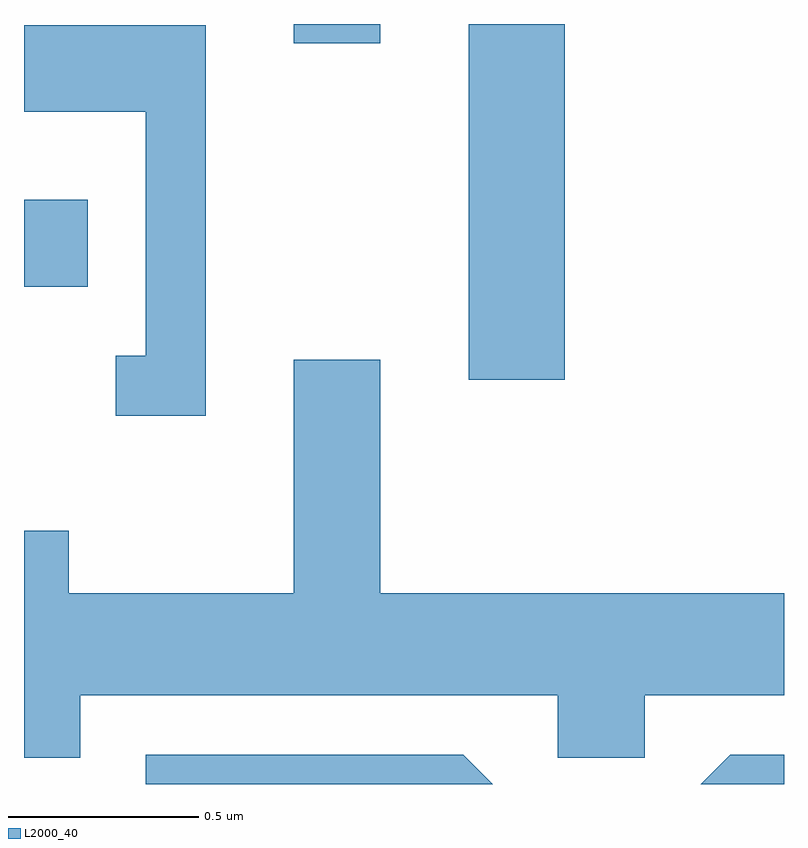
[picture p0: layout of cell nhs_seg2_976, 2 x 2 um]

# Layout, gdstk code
import gdstk
lib = gdstk.Library(unit=1e-6, precision=1e-09)
def R(c, l, rs):  # rectangles x0, y0, x1, y1
    for r in rs: c.add(gdstk.rectangle(r[:2], r[2:], *l))
def P(c, l, *ps):  # polygons
    for p in ps: c.add(gdstk.Polygon(p, *l))
L2000_40 = (2000, 40)

nhs_seg2_976 = lib.new_cell('nhs_seg2_976')
R(nhs_seg2_976, L2000_40, [(193.781,995.866,194.034,996.802), (192.611,996.111,192.779,996.339), (193.321,996.751,193.549,996.802)])
P(nhs_seg2_976, L2000_40, [(193.089,996.799),(192.611,996.799),(192.611,996.571),(192.931,996.571),(192.931,995.929),(192.853,995.929),(192.853,995.771),(193.089,995.771)],
  [(192.759,995.036),(194.016,995.036),(194.016,994.871),(194.244,994.871),(194.244,995.036),(194.611,995.036),(194.611,995.304),(193.549,995.304),(193.549,995.919),(193.321,995.919),(193.321,995.304),(192.729,995.304),(192.729,995.469),(192.611,995.469),(192.611,994.871),(192.759,994.871)],
  [(194.611,994.879),(194.469,994.879),(194.392,994.802),(194.611,994.802)],
  [(193.767,994.879),(192.931,994.879),(192.931,994.802),(193.844,994.802)])

lib.write_gds('nhs_seg2_976.gds')
